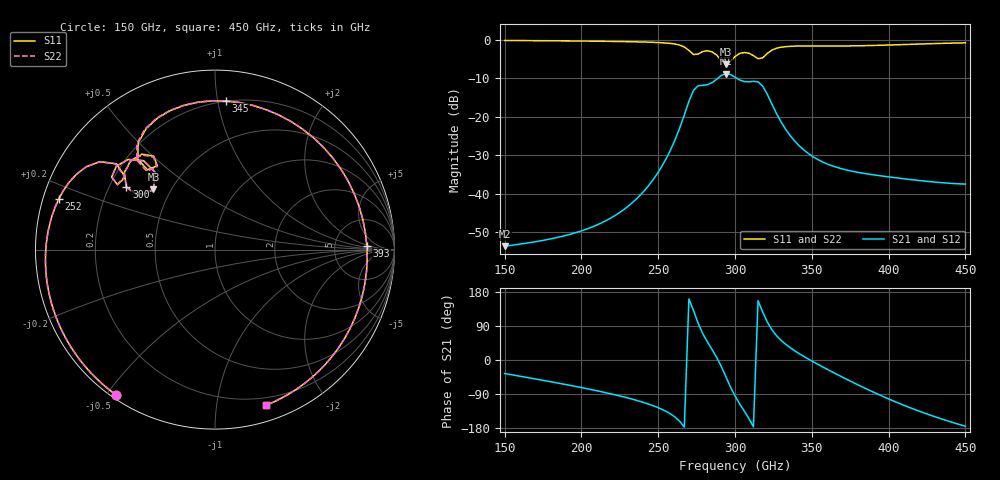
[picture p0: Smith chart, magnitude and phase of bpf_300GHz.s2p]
#  GHZ S DB R 50
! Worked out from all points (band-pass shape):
!   101 points, 150 GHz to 450 GHz, reference 50 ohm
!   highest |S21| = -8.79 dB at 294 GHz (marker M1); lowest = -53.6 dB at 150 GHz (marker M2)
!   |S21| within 3 dB of the highest: 279.9 GHz to 317.3 GHz (37.4 GHz wide, 12.5 % of centre)
!   lowest |S11| = -6.4 dB at 294 GHz (marker M3), VSWR 2.84, Z = 20.1 + j17.5 ohm
!   |S11| at or under -10 dB: nowhere
!   |S22| runs from -6.4 to -0.2 dB; largest |S21 - S12| = 3.3e-13
!   S11 on the Smith chart (normalised r, x): 150 GHz: 0.01, -0.53; 252 GHz: 0.05, +0.16; 300 GHz: 0.27, +0.30; 345 GHz: 0.20, +1.05; 393 GHz: 12, +2; 450 GHz: 0.13, -1.37
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150  -0.18 -124.3  -53.63 -35.6  -53.63 -35.6  -0.18 -124.2
201  -0.34 -157.8  -49.53 -73.6  -49.53 -73.6  -0.34 -157.7
231  -0.51 -179.3  -43.07 -101.0  -43.07 -101.0  -0.50 -179.1
252  -0.77 162.2  -33.14 -129.4  -33.14 -129.4  -0.76 162.4
267  -1.87 142.5  -19.52 -176.8  -19.52 -176.8  -1.84 142.8
273  -3.84 141.1  -13.14 130.4  -13.14 130.4  -3.78 141.1
279  -3.06 145.0  -11.83 69.6  -11.83 69.6  -3.06 144.9
288  -3.94 128.7  -10.27 7.5  -10.27 7.5  -3.96 128.8
294  -6.38 135.7  -8.79 -43.5  -8.79 -43.5  -6.41 135.8
300  -4.36 144.7  -9.72 -94.9  -9.72 -94.9  -4.39 144.9
306  -3.31 133.4  -10.86 -134.5  -10.86 -134.5  -3.34 133.7
312  -4.12 123.2  -10.80 -176.4  -10.80 -176.4  -4.18 123.5
318  -4.70 130.2  -12.03 127.0  -12.03 127.0  -4.74 131.0
327  -2.21 119.6  -19.15 64.3  -19.15 64.3  -2.20 120.2
336  -1.71 102.1  -24.93 32.3  -24.93 32.3  -1.70 102.6
345  -1.62 85.9  -28.69 9.0  -28.69 9.0  -1.61 86.3
351  -1.61 75.2  -30.43 -4.9  -30.43 -4.9  -1.61 75.7
375  -1.59 32.4  -34.05 -55.5  -34.05 -55.5  -1.59 32.8
393  -1.45 1.5  -35.26 -90.1  -35.26 -90.1  -1.45 1.7
402  -1.35 -12.9  -35.73 -106.1  -35.73 -106.1  -1.35 -12.6
426  -1.04 -46.1  -36.82 -143.9  -36.82 -143.9  -1.04 -45.9
450  -0.79 -71.9  -37.50 -174.8  -37.50 -174.8  -0.80 -71.8
